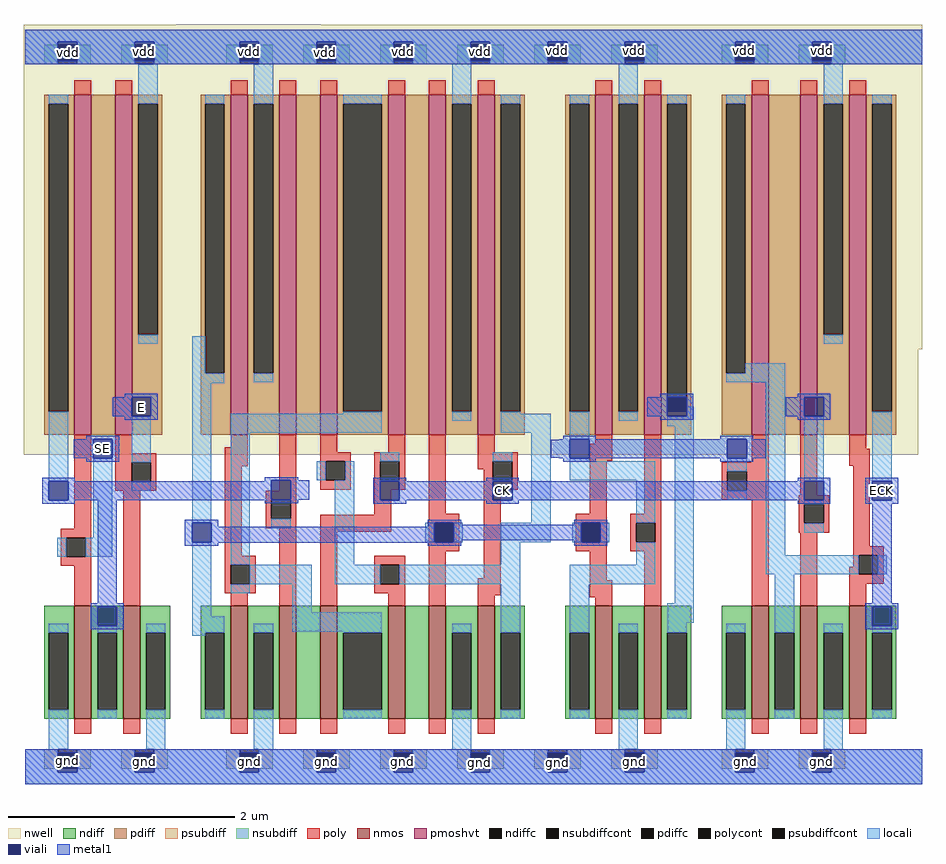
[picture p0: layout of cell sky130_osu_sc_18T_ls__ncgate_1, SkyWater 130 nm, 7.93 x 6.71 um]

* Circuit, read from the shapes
.subckt sky130_osu_sc_18T_ls__ncgate_1 CK E ECK SE gnd vdd
XM1 n1 SE gnd gnd sky130_fd_pr__nfet_01v8 w=1 l=0.15
XM2 gnd E n1 gnd sky130_fd_pr__nfet_01v8 w=1 l=0.15
XM3 gnd n2 n3 gnd sky130_fd_pr__nfet_01v8 w=1 l=0.15
XM4 n4 n1 gnd gnd sky130_fd_pr__nfet_01v8 w=1 l=0.15
XM5 n2 CK n4 gnd sky130_fd_pr__nfet_01v8 w=1 l=0.15
XM6 n5 n6 n2 gnd sky130_fd_pr__nfet_01v8 w=1 l=0.15
XM7 gnd n3 n5 gnd sky130_fd_pr__nfet_01v8 w=1 l=0.15
XM8 n6 CK gnd gnd sky130_fd_pr__nfet_01v8 w=1 l=0.15
XM9 gnd n3 n7 gnd sky130_fd_pr__nfet_01v8 w=1 l=0.15
XM10 n8 n7 gnd gnd sky130_fd_pr__nfet_01v8 w=1 l=0.15
XM11 n9 n7 gnd gnd sky130_fd_pr__nfet_01v8 w=1 l=0.15
XM12 gnd CK n9 gnd sky130_fd_pr__nfet_01v8 w=1 l=0.15
XM13 ECK n9 gnd gnd sky130_fd_pr__nfet_01v8 w=1 l=0.15
XM14 n10 SE n1 vdd sky130_fd_pr__pfet_01v8_hvt w=3 l=0.15
XM15 vdd E n10 vdd sky130_fd_pr__pfet_01v8_hvt w=3 l=0.15
XM16 vdd n2 n3 vdd sky130_fd_pr__pfet_01v8_hvt w=3 l=0.15
XM17 n11 n1 vdd vdd sky130_fd_pr__pfet_01v8_hvt w=3 l=0.15
XM18 n2 n6 n11 vdd sky130_fd_pr__pfet_01v8_hvt w=3 l=0.15
XM19 n12 CK n2 vdd sky130_fd_pr__pfet_01v8_hvt w=3 l=0.15
XM20 vdd n3 n12 vdd sky130_fd_pr__pfet_01v8_hvt w=3 l=0.15
XM21 n6 CK vdd vdd sky130_fd_pr__pfet_01v8_hvt w=3 l=0.15
XM22 vdd n3 n7 vdd sky130_fd_pr__pfet_01v8_hvt w=3 l=0.15
XM23 n8 n7 vdd vdd sky130_fd_pr__pfet_01v8_hvt w=3 l=0.15
XM24 n13 n7 n9 vdd sky130_fd_pr__pfet_01v8_hvt w=3 l=0.15
XM25 vdd CK n13 vdd sky130_fd_pr__pfet_01v8_hvt w=3 l=0.15
XM26 ECK n9 vdd vdd sky130_fd_pr__pfet_01v8_hvt w=3 l=0.15
.ends

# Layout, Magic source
magic
tech sky130A
magscale 1 2
<< nwell >>
rect 0 1336 255 1337
rect -269 763 1317 1336
rect -269 576 1310 763
<< nmos >>
rect -180 110 -150 310
rect -94 110 -64 310
rect 96 110 126 310
rect 182 110 212 310
rect 254 110 284 310
rect 374 110 404 310
rect 446 110 476 310
rect 532 110 562 310
rect 740 110 770 310
rect 826 110 856 310
rect 1016 110 1046 310
rect 1102 110 1132 310
rect 1188 110 1218 310
<< pmoshvt >>
rect -180 612 -150 1212
rect -108 612 -78 1212
rect 96 612 126 1212
rect 182 612 212 1212
rect 254 612 284 1212
rect 374 612 404 1212
rect 446 612 476 1212
rect 532 612 562 1212
rect 740 612 770 1212
rect 826 612 856 1212
rect 1016 612 1046 1212
rect 1102 612 1132 1212
rect 1188 612 1218 1212
<< ndiff >>
rect -233 262 -180 310
rect -233 126 -225 262
rect -191 126 -180 262
rect -233 110 -180 126
rect -150 262 -94 310
rect -150 126 -139 262
rect -105 126 -94 262
rect -150 110 -94 126
rect -64 262 -11 310
rect -64 126 -53 262
rect -19 126 -11 262
rect -64 110 -11 126
rect 43 262 96 310
rect 43 126 51 262
rect 85 126 96 262
rect 43 110 96 126
rect 126 262 182 310
rect 126 126 137 262
rect 171 126 182 262
rect 126 110 182 126
rect 212 110 254 310
rect 284 262 374 310
rect 284 126 295 262
rect 363 126 374 262
rect 284 110 374 126
rect 404 110 446 310
rect 476 262 532 310
rect 476 126 487 262
rect 521 126 532 262
rect 476 110 532 126
rect 562 262 615 310
rect 562 126 573 262
rect 607 126 615 262
rect 562 110 615 126
rect 687 262 740 310
rect 687 126 695 262
rect 729 126 740 262
rect 687 110 740 126
rect 770 262 826 310
rect 770 126 781 262
rect 815 126 826 262
rect 770 110 826 126
rect 856 262 909 310
rect 856 126 867 262
rect 901 126 909 262
rect 856 110 909 126
rect 963 262 1016 310
rect 963 126 971 262
rect 1005 126 1016 262
rect 963 110 1016 126
rect 1046 262 1102 310
rect 1046 126 1057 262
rect 1091 126 1102 262
rect 1046 110 1102 126
rect 1132 262 1188 310
rect 1132 126 1143 262
rect 1177 126 1188 262
rect 1132 110 1188 126
rect 1218 262 1271 310
rect 1218 126 1229 262
rect 1263 126 1271 262
rect 1218 110 1271 126
<< pdiff >>
rect -233 1196 -180 1212
rect -233 652 -225 1196
rect -191 652 -180 1196
rect -233 612 -180 652
rect -150 612 -108 1212
rect -78 1196 -25 1212
rect -78 788 -67 1196
rect -33 788 -25 1196
rect -78 612 -25 788
rect 43 1196 96 1212
rect 43 720 51 1196
rect 85 720 96 1196
rect 43 612 96 720
rect 126 1196 182 1212
rect 126 720 137 1196
rect 171 720 182 1196
rect 126 612 182 720
rect 212 612 254 1212
rect 284 1196 374 1212
rect 284 652 295 1196
rect 363 652 374 1196
rect 284 612 374 652
rect 404 612 446 1212
rect 476 1196 532 1212
rect 476 652 487 1196
rect 521 652 532 1196
rect 476 612 532 652
rect 562 1196 615 1212
rect 562 652 573 1196
rect 607 652 615 1196
rect 562 612 615 652
rect 687 1196 740 1212
rect 687 652 695 1196
rect 729 652 740 1196
rect 687 612 740 652
rect 770 1196 826 1212
rect 770 652 781 1196
rect 815 652 826 1196
rect 770 612 826 652
rect 856 1196 909 1212
rect 856 652 867 1196
rect 901 652 909 1196
rect 856 612 909 652
rect 963 1196 1016 1212
rect 963 720 971 1196
rect 1005 720 1016 1196
rect 963 612 1016 720
rect 1046 612 1102 1212
rect 1132 1196 1188 1212
rect 1132 788 1143 1196
rect 1177 788 1188 1196
rect 1132 612 1188 788
rect 1218 1196 1271 1212
rect 1218 652 1229 1196
rect 1263 652 1271 1196
rect 1218 612 1271 652
<< ndiffc >>
rect -225 126 -191 262
rect -139 126 -105 262
rect -53 126 -19 262
rect 51 126 85 262
rect 137 126 171 262
rect 295 126 363 262
rect 487 126 521 262
rect 573 126 607 262
rect 695 126 729 262
rect 781 126 815 262
rect 867 126 901 262
rect 971 126 1005 262
rect 1057 126 1091 262
rect 1143 126 1177 262
rect 1229 126 1263 262
<< pdiffc >>
rect -225 652 -191 1196
rect -67 788 -33 1196
rect 51 720 85 1196
rect 137 720 171 1196
rect 295 652 363 1196
rect 487 652 521 1196
rect 573 652 607 1196
rect 695 652 729 1196
rect 781 652 815 1196
rect 867 652 901 1196
rect 971 720 1005 1196
rect 1143 788 1177 1196
rect 1229 652 1263 1196
<< psubdiff >>
rect -233 22 -209 56
rect -175 22 -151 56
rect -97 22 -73 56
rect -39 22 -15 56
rect 88 22 112 56
rect 146 22 170 56
rect 224 22 248 56
rect 282 22 306 56
rect 360 22 384 56
rect 418 22 442 56
rect 496 22 520 56
rect 554 22 578 56
rect 632 22 656 56
rect 690 22 714 56
rect 768 22 792 56
rect 826 22 850 56
rect 963 22 987 56
rect 1021 22 1045 56
rect 1099 22 1123 56
rect 1157 22 1181 56
<< nsubdiff >>
rect -233 1266 -209 1300
rect -175 1266 -151 1300
rect -97 1266 -73 1300
rect -39 1266 -15 1300
rect 88 1266 112 1300
rect 146 1266 170 1300
rect 224 1266 248 1300
rect 282 1266 306 1300
rect 360 1266 384 1300
rect 418 1266 442 1300
rect 496 1266 520 1300
rect 554 1266 578 1300
rect 632 1266 656 1300
rect 690 1266 714 1300
rect 768 1266 792 1300
rect 826 1266 850 1300
rect 963 1266 987 1300
rect 1021 1266 1045 1300
rect 1099 1266 1123 1300
rect 1157 1266 1181 1300
<< psubdiffcont >>
rect -209 22 -175 56
rect -73 22 -39 56
rect 112 22 146 56
rect 248 22 282 56
rect 384 22 418 56
rect 520 22 554 56
rect 656 22 690 56
rect 792 22 826 56
rect 987 22 1021 56
rect 1123 22 1157 56
<< nsubdiffcont >>
rect -209 1266 -175 1300
rect -73 1266 -39 1300
rect 112 1266 146 1300
rect 248 1266 282 1300
rect 384 1266 418 1300
rect 520 1266 554 1300
rect 656 1266 690 1300
rect 792 1266 826 1300
rect 987 1266 1021 1300
rect 1123 1266 1157 1300
<< poly >>
rect -180 1212 -150 1238
rect -108 1212 -78 1238
rect 96 1212 126 1238
rect 182 1212 212 1238
rect 254 1212 284 1238
rect 374 1212 404 1238
rect 446 1212 476 1238
rect 532 1212 562 1238
rect 740 1212 770 1238
rect 826 1212 856 1238
rect 1016 1212 1046 1238
rect 1102 1212 1132 1238
rect 1188 1212 1218 1238
rect -180 446 -150 612
rect -108 579 -78 612
rect 96 590 126 612
rect -108 563 -35 579
rect -108 529 -79 563
rect -45 529 -35 563
rect -108 513 -35 529
rect 86 556 126 590
rect -204 430 -150 446
rect -204 396 -194 430
rect -160 396 -150 430
rect -204 380 -150 396
rect -180 310 -150 380
rect -94 310 -64 513
rect 86 398 116 556
rect 182 513 212 612
rect 254 581 284 612
rect 374 581 404 612
rect 254 565 308 581
rect 254 531 264 565
rect 298 531 308 565
rect 254 515 308 531
rect 350 565 404 581
rect 350 531 360 565
rect 394 531 404 565
rect 350 515 404 531
rect 158 497 212 513
rect 158 463 168 497
rect 202 463 212 497
rect 350 470 380 515
rect 158 447 212 463
rect 86 382 140 398
rect 86 348 96 382
rect 130 348 140 382
rect 86 332 140 348
rect 96 310 126 332
rect 182 310 212 447
rect 254 440 380 470
rect 446 472 476 612
rect 532 581 562 612
rect 740 596 770 612
rect 532 565 603 581
rect 532 551 559 565
rect 543 531 559 551
rect 593 531 603 565
rect 543 515 603 531
rect 730 566 770 596
rect 446 456 500 472
rect 254 310 284 440
rect 446 422 456 456
rect 490 422 500 456
rect 446 406 500 422
rect 350 382 404 398
rect 350 348 360 382
rect 394 348 404 382
rect 350 332 404 348
rect 374 310 404 332
rect 446 310 476 406
rect 543 358 573 515
rect 730 472 760 566
rect 826 472 856 612
rect 1016 563 1046 612
rect 963 547 1046 563
rect 963 513 973 547
rect 1007 513 1046 547
rect 963 497 1046 513
rect 1102 505 1132 612
rect 1188 587 1218 612
rect 1188 557 1225 587
rect 705 456 760 472
rect 705 422 715 456
rect 749 422 760 456
rect 705 406 760 422
rect 802 456 856 472
rect 802 422 812 456
rect 846 422 856 456
rect 802 406 856 422
rect 532 328 573 358
rect 730 355 760 406
rect 532 310 562 328
rect 730 325 770 355
rect 740 310 770 325
rect 826 310 856 406
rect 1016 310 1046 497
rect 1099 489 1153 505
rect 1099 455 1109 489
rect 1143 455 1153 489
rect 1099 439 1153 455
rect 1102 310 1132 439
rect 1195 415 1225 557
rect 1195 399 1249 415
rect 1195 379 1205 399
rect 1188 365 1205 379
rect 1239 365 1249 399
rect 1188 349 1249 365
rect 1188 310 1218 349
rect -180 84 -150 110
rect -94 84 -64 110
rect 96 84 126 110
rect 182 84 212 110
rect 254 84 284 110
rect 374 84 404 110
rect 446 84 476 110
rect 532 84 562 110
rect 740 84 770 110
rect 826 84 856 110
rect 1016 84 1046 110
rect 1102 84 1132 110
rect 1188 84 1218 110
<< polycont >>
rect -79 529 -45 563
rect -194 396 -160 430
rect 264 531 298 565
rect 360 531 394 565
rect 168 463 202 497
rect 96 348 130 382
rect 559 531 593 565
rect 456 422 490 456
rect 360 348 394 382
rect 973 513 1007 547
rect 715 422 749 456
rect 812 422 846 456
rect 1109 455 1143 489
rect 1205 365 1239 399
<< locali >>
rect -267 1306 1317 1327
rect -267 1266 -209 1306
rect -175 1266 -73 1306
rect -39 1266 112 1306
rect 146 1266 248 1306
rect 282 1266 384 1306
rect 418 1266 520 1306
rect 554 1266 656 1306
rect 690 1266 792 1306
rect 826 1266 987 1306
rect 1021 1266 1123 1306
rect 1157 1266 1317 1306
rect -225 1196 -191 1212
rect -67 1196 -33 1266
rect -67 772 -33 788
rect 51 1196 85 1212
rect 28 720 51 786
rect 28 703 85 720
rect 137 1196 171 1266
rect 137 704 171 720
rect 295 1196 363 1212
rect -225 530 -191 652
rect -147 430 -113 570
rect -79 563 -45 644
rect -79 513 -45 529
rect -210 396 -194 430
rect -160 396 -113 430
rect 28 456 62 703
rect 295 649 363 652
rect -225 262 -191 278
rect -225 56 -191 126
rect 28 291 62 422
rect 96 615 363 649
rect 487 1196 521 1266
rect 487 636 521 652
rect 573 1196 607 1212
rect 573 649 607 652
rect 695 1196 729 1212
rect 573 615 661 649
rect 96 382 130 615
rect 360 565 394 581
rect 248 531 264 565
rect 298 531 314 565
rect 168 447 202 463
rect 280 382 314 531
rect 360 530 394 531
rect 559 565 593 581
rect 559 530 593 531
rect 627 456 661 615
rect 695 604 729 652
rect 781 1196 815 1266
rect 781 636 815 652
rect 867 1196 901 1212
rect 971 1196 1005 1212
rect 1143 1196 1177 1266
rect 1143 772 1177 788
rect 1229 1196 1263 1212
rect 1005 720 1075 738
rect 971 704 1075 720
rect 901 644 914 661
rect 867 627 914 644
rect 695 565 729 570
rect 695 531 846 565
rect 812 456 846 531
rect 440 422 456 456
rect 490 422 506 456
rect 573 422 661 456
rect 699 422 715 456
rect 749 422 765 456
rect 573 382 607 422
rect 812 382 846 422
rect 130 348 239 382
rect 280 348 360 382
rect 394 348 607 382
rect 96 332 130 348
rect 205 298 239 348
rect -139 262 -105 274
rect -139 110 -105 126
rect -53 262 -19 278
rect 28 262 85 291
rect 28 257 51 262
rect -53 56 -19 126
rect 51 110 85 126
rect 137 262 171 278
rect 205 264 363 298
rect 137 56 171 126
rect 295 262 363 264
rect 295 110 363 126
rect 487 262 521 278
rect 487 56 521 126
rect 573 262 607 348
rect 573 110 607 126
rect 695 348 846 382
rect 695 262 729 348
rect 880 314 914 627
rect 973 547 1007 570
rect 973 497 1007 513
rect 1041 399 1075 704
rect 1109 530 1143 644
rect 1229 530 1263 652
rect 1109 489 1143 496
rect 1109 439 1143 455
rect 1041 365 1205 399
rect 1239 365 1255 399
rect 867 280 914 314
rect 695 110 729 126
rect 781 262 815 278
rect 781 56 815 126
rect 867 262 901 280
rect 867 110 901 126
rect 971 262 1005 278
rect 971 56 1005 126
rect 1057 262 1091 365
rect 1057 110 1091 126
rect 1143 262 1177 278
rect 1143 56 1177 126
rect 1229 262 1263 274
rect 1229 110 1263 126
rect -267 16 -209 56
rect -175 16 -73 56
rect -39 16 112 56
rect 146 16 248 56
rect 282 16 384 56
rect 418 16 520 56
rect 554 16 656 56
rect 690 16 792 56
rect 826 16 987 56
rect 1021 16 1123 56
rect 1157 16 1317 56
rect -267 -5 1317 16
<< viali >>
rect -209 1300 -175 1306
rect -209 1272 -175 1300
rect -73 1300 -39 1306
rect -73 1272 -39 1300
rect 112 1300 146 1306
rect 112 1272 146 1300
rect 248 1300 282 1306
rect 248 1272 282 1300
rect 384 1300 418 1306
rect 384 1272 418 1300
rect 520 1300 554 1306
rect 520 1272 554 1300
rect 656 1300 690 1306
rect 656 1272 690 1300
rect 792 1300 826 1306
rect 792 1272 826 1300
rect 987 1300 1021 1306
rect 987 1272 1021 1300
rect 1123 1300 1157 1306
rect 1123 1272 1157 1300
rect -79 644 -45 678
rect -225 496 -191 530
rect -147 570 -113 604
rect 28 422 62 456
rect -139 274 -105 308
rect 168 497 202 531
rect 360 496 394 530
rect 559 496 593 530
rect 867 652 901 678
rect 867 644 901 652
rect 695 570 729 604
rect 456 422 490 456
rect 715 422 749 456
rect 973 570 1007 604
rect 1109 644 1143 678
rect 1109 496 1143 530
rect 1229 496 1263 530
rect 1229 274 1263 308
rect -209 22 -175 50
rect -209 16 -175 22
rect -73 22 -39 50
rect -73 16 -39 22
rect 112 22 146 50
rect 112 16 146 22
rect 248 22 282 50
rect 248 16 282 22
rect 384 22 418 50
rect 384 16 418 22
rect 520 22 554 50
rect 520 16 554 22
rect 656 22 690 50
rect 656 16 690 22
rect 792 22 826 50
rect 792 16 826 22
rect 987 22 1021 50
rect 987 16 1021 22
rect 1123 22 1157 50
rect 1123 16 1157 22
<< metal1 >>
rect -267 1306 1317 1327
rect -267 1272 -209 1306
rect -175 1272 -73 1306
rect -39 1272 112 1306
rect 146 1272 248 1306
rect 282 1272 384 1306
rect 418 1272 520 1306
rect 554 1272 656 1306
rect 690 1272 792 1306
rect 826 1272 987 1306
rect 1021 1272 1123 1306
rect 1157 1272 1317 1306
rect -267 1266 1317 1272
rect -91 678 -33 684
rect 855 678 913 684
rect 1097 678 1155 684
rect -112 644 -79 678
rect -45 644 -33 678
rect 832 644 867 678
rect 901 644 913 678
rect 1076 644 1109 678
rect 1143 644 1155 678
rect -91 638 -33 644
rect 855 638 913 644
rect 1097 638 1155 644
rect -159 604 -101 610
rect 683 604 741 610
rect 961 604 1019 610
rect -181 570 -147 604
rect -113 570 -101 604
rect 676 603 695 604
rect 661 571 695 603
rect 676 570 695 571
rect 729 570 973 604
rect 1007 570 1041 604
rect -159 564 -101 570
rect 683 564 741 570
rect 961 564 1019 570
rect -237 530 -179 536
rect 156 531 215 537
rect 156 530 168 531
rect -237 496 -225 530
rect -191 497 168 530
rect 202 497 235 531
rect 348 530 406 536
rect 547 530 605 536
rect 1097 530 1155 536
rect -191 496 215 497
rect -237 490 -179 496
rect -139 314 -105 496
rect 156 491 215 496
rect 348 496 360 530
rect 394 496 559 530
rect 593 496 1109 530
rect 1143 496 1155 530
rect 348 490 406 496
rect 547 490 605 496
rect 1097 490 1155 496
rect 1217 530 1275 536
rect 1217 496 1229 530
rect 1263 496 1275 530
rect 1217 490 1275 496
rect 15 456 74 462
rect 15 422 28 456
rect 62 449 74 456
rect 444 456 503 462
rect 444 449 456 456
rect 62 422 456 449
rect 490 453 503 456
rect 703 456 761 462
rect 703 453 715 456
rect 490 425 715 453
rect 490 422 503 425
rect 15 421 503 422
rect 15 416 74 421
rect 444 416 503 421
rect 703 422 715 425
rect 749 422 761 456
rect 703 416 761 422
rect 1229 314 1263 490
rect -151 308 -93 314
rect -151 274 -139 308
rect -105 274 -93 308
rect -151 268 -93 274
rect 1217 308 1275 314
rect 1217 274 1229 308
rect 1263 274 1275 308
rect 1217 268 1275 274
rect -267 50 1317 56
rect -267 16 -209 50
rect -175 16 -73 50
rect -39 16 112 50
rect 146 16 248 50
rect 282 16 384 50
rect 418 16 520 50
rect 554 16 656 50
rect 690 16 792 50
rect 826 16 987 50
rect 1021 16 1123 50
rect 1157 16 1317 50
rect -267 -5 1317 16
<< labels >>
rlabel viali -130 587 -130 587 1 SE
rlabel viali -61 660 -61 660 1 E
rlabel viali 576 513 576 513 1 CK
rlabel viali 1246 513 1246 513 1 ECK
rlabel viali -192 36 -192 36 1 gnd
rlabel viali -56 34 -56 34 1 gnd
rlabel viali 129 34 129 34 1 gnd
rlabel viali 265 34 265 34 1 gnd
rlabel viali 400 35 400 35 1 gnd
rlabel viali 536 33 536 33 1 gnd
rlabel viali 673 33 673 33 1 gnd
rlabel viali 810 34 810 34 1 gnd
rlabel viali 1005 34 1005 34 1 gnd
rlabel viali 1139 35 1139 35 1 gnd
rlabel nwell -191 1287 -190 1287 1 vdd
rlabel nwell -56 1288 -55 1288 1 vdd
rlabel nwell 129 1288 130 1288 1 vdd
rlabel viali 264 1287 264 1287 1 vdd
rlabel viali 401 1289 401 1289 1 vdd
rlabel viali 538 1289 538 1289 1 vdd
rlabel nwell 674 1289 674 1290 1 vdd
rlabel nwell 809 1290 809 1291 1 vdd
rlabel nwell 1004 1289 1004 1290 1 vdd
rlabel nwell 1141 1289 1141 1290 1 vdd
<< end >>
